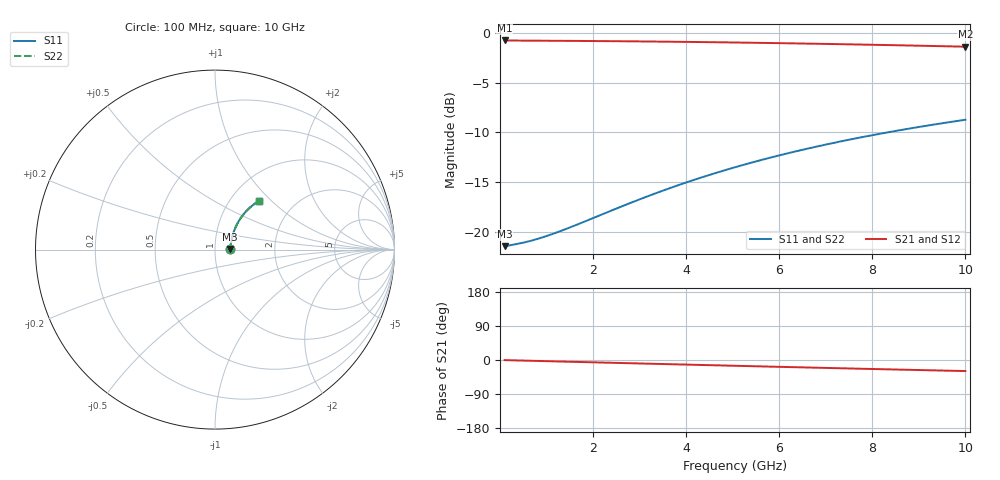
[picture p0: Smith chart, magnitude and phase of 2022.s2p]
# Hz S RI R 50.00
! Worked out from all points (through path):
!   100 points, 100 MHz to 10 GHz, reference 50 ohm
!   highest |S21| = -0.77 dB at 100 MHz (marker M1); lowest = -1.4 dB at 10 GHz (marker M2)
!   group delay of S21, straight-line fit = 8.13 ps
!   lowest |S11| = -21.4 dB at 100 MHz (marker M3), VSWR 1.19, Z = 59.3 + j0.414 ohm
!   |S11| at or under -10 dB: start of sweep to 8.333 GHz
!   |S22| runs from -21.4 to -8.7 dB; largest |S21 - S12| = 0
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1e8  0.0847 0.00347  0.9153 -0.0049  0.9153 -0.0049  0.0847 0.00347
3e8  0.0857 0.0104  0.9143 -0.0147  0.9143 -0.0147  0.0857 0.0104
5e8  0.0866 0.0173  0.9134 -0.0244  0.9134 -0.0244  0.0866 0.0173
7e8  0.0874 0.0241  0.9125 -0.0342  0.9125 -0.0342  0.0874 0.0241
9e8  0.0884 0.031  0.9115 -0.0439  0.9115 -0.0439  0.0884 0.031
1.1e9  0.0894 0.0378  0.9104 -0.0536  0.9104 -0.0536  0.0894 0.0378
1.3e9  0.0906 0.0446  0.9093 -0.0632  0.9093 -0.0632  0.0906 0.0446
1.8e9  0.0939 0.0614  0.9057 -0.0872  0.9057 -0.0872  0.0939 0.0614
2.7e9  0.102 0.091  0.8972 -0.1297  0.8972 -0.1297  0.102 0.091
3.4e9  0.11 0.1133  0.8887 -0.1621  0.8887 -0.1621  0.11 0.1133
3.8e9  0.1153 0.1257  0.8831 -0.1802  0.8831 -0.1802  0.1153 0.1257
4.2e9  0.1211 0.1378  0.877 -0.1981  0.877 -0.1981  0.1211 0.1378
4.6e9  0.1273 0.1497  0.8704 -0.2157  0.8704 -0.2157  0.1273 0.1497
5.1e9  0.1357 0.1639  0.8615 -0.2372  0.8615 -0.2372  0.1357 0.1639
5.5e9  0.1428 0.175  0.8539 -0.254  0.8539 -0.254  0.1428 0.175
5.9e9  0.1504 0.1857  0.8458 -0.2704  0.8458 -0.2704  0.1504 0.1857
6.3e9  0.1584 0.1959  0.8373 -0.2865  0.8373 -0.2865  0.1584 0.1959
6.7e9  0.1667 0.2058  0.8284 -0.3021  0.8284 -0.3021  0.1667 0.2058
7.5e9  0.1843 0.2244  0.8096 -0.3323  0.8096 -0.3323  0.1843 0.2244
8.4e9  0.2054 0.2432  0.7869 -0.3641  0.7869 -0.3641  0.2054 0.2432
9.2e9  0.2251 0.258  0.7656 -0.3906  0.7656 -0.3906  0.2251 0.258
1e10  0.2456 0.271  0.7435 -0.4153  0.7435 -0.4153  0.2456 0.271
